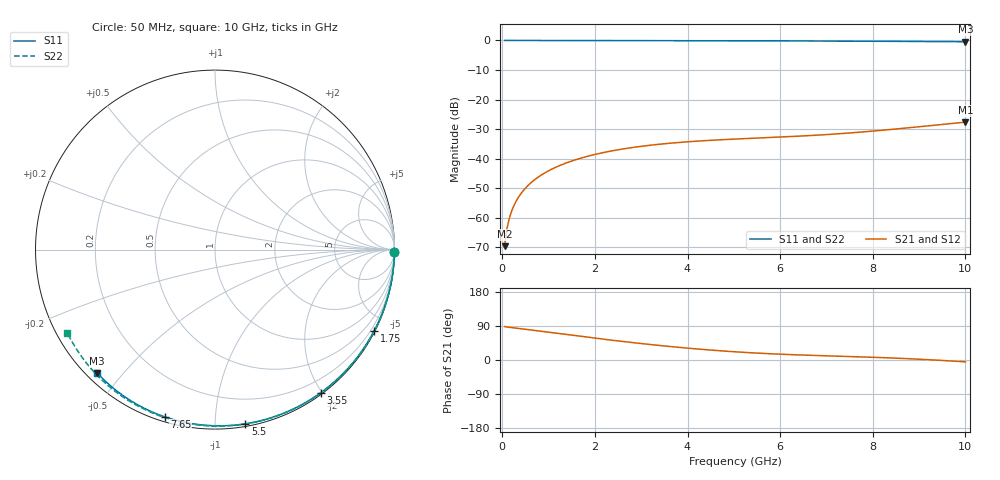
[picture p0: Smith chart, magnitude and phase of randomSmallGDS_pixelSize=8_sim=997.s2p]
! freq	dB(S11)	phase(S11)	dB(S12)	phase(S12)
!  dB(S21)	phase(S21)	dB(S22)	phase(S22)
!S-par simulation data
#  GHz  S  DB  R 50
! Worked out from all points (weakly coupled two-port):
!   200 points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, 50 MHz to 10 GHz, reference 50 ohm
!   highest |S21| = -27.64 dB at 10 GHz (marker M1); lowest = -69.6 dB at 50 MHz (marker M2)
!   lowest |S11| = -0.4 dB at 10 GHz (marker M3), VSWR 39.12, Z = 1.51 - j21.4 ohm
!   |S11| at or under -10 dB: nowhere
!   |S22| runs from -0.5 to 0.0 dB; largest |S21 - S12| = 0
!   S11 on the Smith chart (normalised r, x): 50 MHz: open; 1.75 GHz: 0.04, -4.15; 3.55 GHz: 0.02, -1.98; 5.5 GHz: 0.02, -1.19; 7.65 GHz: 0.02, -0.74; 10 GHz: 0.03, -0.43
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0.05  -0.00 -0.8  -69.61 88.2  -69.61 88.2  -0.00 -0.9
0.1  -0.00 -1.6  -63.70 87.0  -63.70 87.0  -0.00 -1.8
0.15  -0.00 -2.4  -60.26 86.2  -60.26 86.2  -0.00 -2.7
0.2  -0.00 -3.2  -57.81 85.5  -57.81 85.5  -0.00 -3.6
0.25  -0.00 -3.9  -55.91 84.8  -55.91 84.8  -0.00 -4.4
0.35  -0.00 -5.5  -53.03 83.4  -53.03 83.4  -0.00 -6.2
0.5  -0.01 -7.9  -49.97 81.1  -49.97 81.1  -0.01 -8.9
0.7  -0.01 -11.0  -47.10 78.0  -47.10 78.0  -0.01 -12.4
1  -0.02 -15.6  -44.10 73.2  -44.10 73.2  -0.02 -17.6
1.35  -0.03 -21.0  -41.63 67.7  -41.63 67.7  -0.03 -23.7
1.75  -0.03 -27.1  -39.58 61.5  -39.58 61.5  -0.04 -30.5
2.5  -0.05 -38.3  -36.99 50.3  -36.99 50.3  -0.06 -43.1
3.4  -0.07 -51.5  -35.10 38.3  -35.10 38.3  -0.08 -57.8
3.55  -0.07 -53.6  -34.87 36.4  -34.87 36.4  -0.08 -60.2
4.3  -0.09 -64.1  -33.97 28.1  -33.97 28.1  -0.10 -71.9
5.05  -0.11 -74.2  -33.34 21.4  -33.34 21.4  -0.13 -83.1
5.5  -0.13 -80.1  -33.03 18.2  -33.03 18.2  -0.15 -89.7
6.7  -0.18 -95.3  -32.13 12.2  -32.13 12.2  -0.21 -106.6
7.65  -0.24 -106.8  -31.12 8.7  -31.12 8.7  -0.27 -119.5
8.35  -0.29 -115.0  -30.18 5.7  -30.18 5.7  -0.33 -128.8
9.2  -0.36 -124.7  -28.89 0.8  -28.89 0.8  -0.41 -140.0
10  -0.44 -133.7  -27.64 -4.8  -27.64 -4.8  -0.50 -150.6
